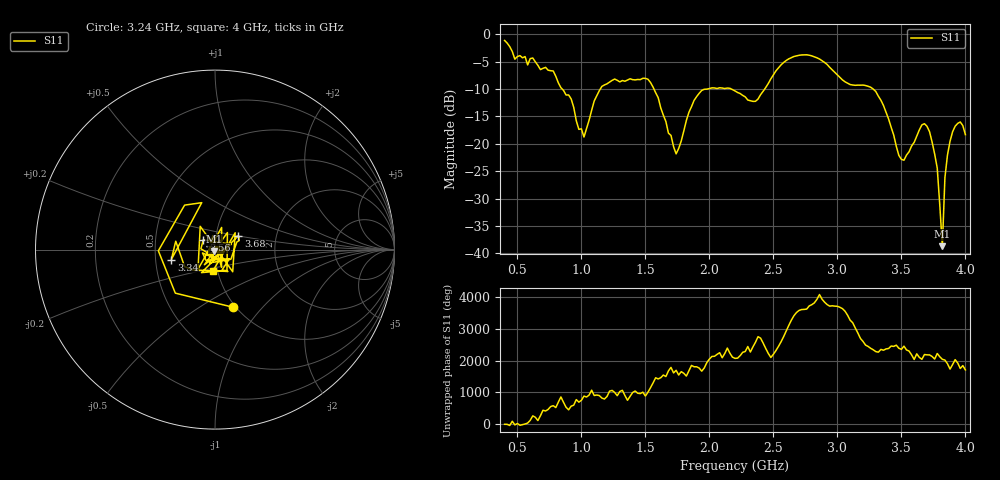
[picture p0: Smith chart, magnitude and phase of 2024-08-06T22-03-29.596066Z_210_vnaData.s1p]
!Created with skrf (http://scikit-rf.org).
# Hz S RI R 50.0
!freq ReS11 ImS11
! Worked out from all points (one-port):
!   181 points, 400 MHz to 4 GHz, reference 50 ohm
!   lowest |S11| = -38.7 dB at 3.82 GHz (marker M1), VSWR 1.02, Z = 49.4 - j0.985 ohm
!   |S11| at or under -10 dB: 849.6 MHz to 1.148 GHz (298.1 MHz wide, 29.8 % of centre); 1.567 GHz to 1.985 GHz (418 MHz wide, 23.5 % of centre); 3.279 GHz to end of sweep (the widest 3 of 4)
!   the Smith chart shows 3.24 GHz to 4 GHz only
!   S11 on the Smith chart (normalised r, x): 3.24 GHz: 0.97, -0.70; 3.34 GHz: 0.61, -0.07; 3.56 GHz: 0.87, +0.10; 3.68 GHz: 1.28, +0.21; 4 GHz: 0.95, -0.23
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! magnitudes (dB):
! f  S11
! 400 MHz  -1.1
! 480 MHz  -4.6
! 780 MHz  -6.7
! 860 MHz  -10.2
! 1.02 GHz  -18.8
! 1.16 GHz  -9.5
! 1.3 GHz  -8.7
! 1.52 GHz  -8.2
! 1.74 GHz  -21.8
! 1.76 GHz  -20.9
! 1.84 GHz  -14.2
! 1.94 GHz  -10.3
! 2.2 GHz  -10.3
! 2.36 GHz  -12.2
! 2.66 GHz  -4.1
! 2.86 GHz  -4.5
! 3.1 GHz  -9.2
! 3.24 GHz  -9.5
! 3.34 GHz  -12.1
! 3.48 GHz  -22.1
! 3.56 GHz  -21.5
! 3.68 GHz  -16.3
! 3.78 GHz  -24.4
! 3.82 GHz  -38.7
! 3.84 GHz  -26.2
! 3.88 GHz  -19.5
! 3.96 GHz  -16.0
! 4 GHz  -18.3
